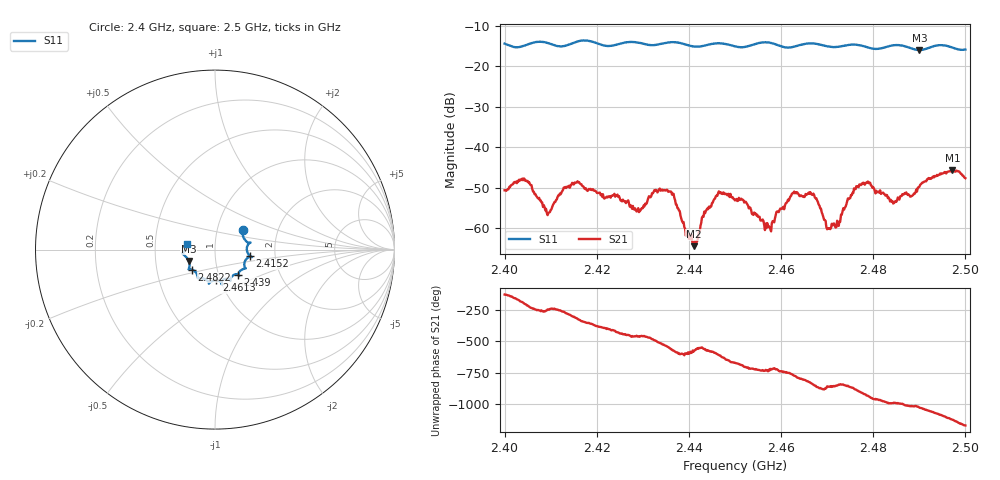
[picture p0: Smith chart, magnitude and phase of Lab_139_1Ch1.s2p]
# Hz S RI R 50
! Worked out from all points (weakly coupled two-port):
!   601 points, 2.4 GHz to 2.5 GHz, reference 50 ohm
!   highest |S21| = -45.69 dB at 2.4972 GHz (marker M1); lowest = -64.5 dB at 2.441 GHz (marker M2)
!   lowest |S11| = -15.9 dB at 2.49 GHz (marker M3), VSWR 1.38, Z = 36.9 - j4.84 ohm
!   |S11| at or under -10 dB: start of sweep to end of sweep
!   S12 and S22 are empty: the file has one direction only
!   S11 on the Smith chart (normalised r, x): 2.4 GHz: 1.33, +0.31; 2.4152 GHz: 1.48, -0.11; 2.439 GHz: 1.24, -0.36; 2.4613 GHz: 0.96, -0.34; 2.4822 GHz: 0.76, -0.17; 2.5 GHz: 0.72, +0.05
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2.4e9  0.1558 0.1115  -0.00173 -0.00237  0 0  0 0
2.404667e9  0.1793 0.0419  -0.00349 0.00168  0 0  0 0
2.409667e9  0.1895 0.0343  -0.000594 0.00144  0 0  0 0
2.415167e9  0.1949 -0.0361  0.00225 0.00288  0 0  0 0
2.416667e9  0.2045 -0.0421  0.00325 0.00123  0 0  0 0
2.429e9  0.1672 -0.1052  -0.000353 -0.00172  0 0  0 0
2.433333e9  0.1324 -0.1322  -0.00243 -0.00155  0 0  0 0
2.436333e9  0.1349 -0.1473  -0.00232 0.00114  0 0  0 0
2.439e9  0.1281 -0.1387  -0.000317 0.000973  0 0  0 0
2.441e9  0.1089 -0.139  -0.000438 0.000404  0 0  0 0
2.446333e9  0.0855 -0.1738  -0.00103 0.00249  0 0  0 0
2.45e9  0.0687 -0.1636  0.00145 0.00165  0 0  0 0
2.457333e9  0.0403 -0.1936  0.00105 -0.000132  0 0  0 0
2.461333e9  0.00741 -0.1711  0.0018 -0.0011  0 0  0 0
2.466667e9  -0.0339 -0.1901  -0.00125 -0.00227  0 0  0 0
2.470333e9  -0.0464 -0.1698  -0.000774 -0.000602  0 0  0 0
2.476833e9  -0.0952 -0.1576  -0.00321 -1.93e-05  0 0  0 0
2.482167e9  -0.1282 -0.1115  -0.000508 0.00269  0 0  0 0
2.483333e9  -0.1393 -0.11  0.000219 0.00238  0 0  0 0
2.49e9  -0.1466 -0.0638  0.00203 0.00251  0 0  0 0
2.497167e9  -0.1712 -0.00987  0.00355 -0.00379  0 0  0 0
2.5e9  -0.1585 0.0335  -0.000201 -0.00413  0 0  0 0
